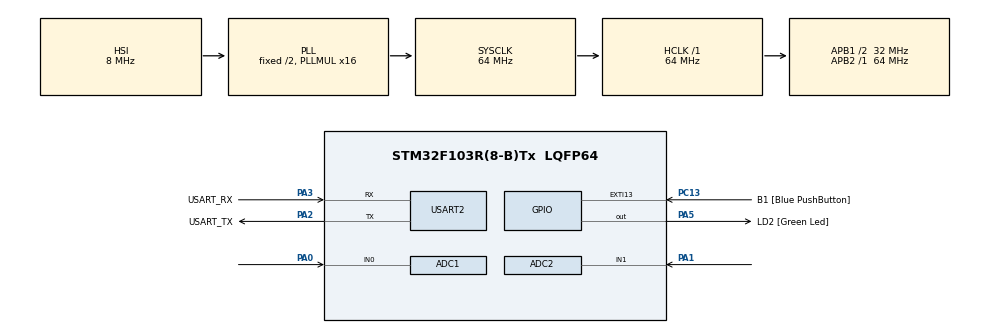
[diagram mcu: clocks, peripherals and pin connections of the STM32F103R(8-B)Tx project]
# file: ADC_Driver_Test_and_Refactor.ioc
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ADC1.Channel-3\#ChannelRegularConversion=ADC_CHANNEL_0
ADC1.ContinuousConvMode=ENABLE
ADC1.Mode=ADC_DUALMODE_REGSIMULT
ADC1.NbrOfConversionFlag=1
ADC1.Rank-3\#ChannelRegularConversion=1
ADC1.SamplingTime-3\#ChannelRegularConversion=ADC_SAMPLETIME_1CYCLE_5
ADC1.master=1
ADC2.Channel-1\#ChannelRegularConversion=ADC_CHANNEL_1
ADC2.ContinuousConvMode=ENABLE
ADC2.Mode=ADC_DUALMODE_REGSIMULT
ADC2.NbrOfConversionFlag=1
ADC2.Rank-1\#ChannelRegularConversion=1
ADC2.SamplingTime-1\#ChannelRegularConversion=ADC_SAMPLETIME_1CYCLE_5
Dma.ADC1.0.Direction=DMA_PERIPH_TO_MEMORY
Dma.ADC1.0.Instance=DMA1_Channel1
Dma.ADC1.0.MemDataAlignment=DMA_MDATAALIGN_HALFWORD
Dma.ADC1.0.MemInc=DMA_MINC_ENABLE
Dma.ADC1.0.Mode=DMA_CIRCULAR
Dma.ADC1.0.PeriphDataAlignment=DMA_PDATAALIGN_HALFWORD
Dma.ADC1.0.PeriphInc=DMA_PINC_DISABLE
Dma.ADC1.0.Priority=DMA_PRIORITY_LOW
Dma.Request0=ADC1
Mcu.Family=STM32F1
Mcu.Name=STM32F103R(8-B)Tx
Mcu.Package=LQFP64
NVIC.DMA1_Channel1_IRQn=true\:0\:0\:false\:false\:true\:false\:true\:true
NVIC.EXTI15_10_IRQn=true\:0\:0\:false\:false\:true\:true\:true\:true
NVIC.PriorityGroup=NVIC_PRIORITYGROUP_4
PA0-WKUP.Signal=ADCx_IN0
PA1.Signal=ADCx_IN1
PA13.GPIO_Label=TMS
PA13.Mode=Serial_Wire
PA13.Signal=SYS_JTMS-SWDIO
PA14.GPIO_Label=TCK
PA14.Mode=Serial_Wire
PA14.Signal=SYS_JTCK-SWCLK
PA2.GPIO_Label=USART_TX
PA2.GPIO_Mode=GPIO_MODE_AF_PP
PA2.GPIO_PuPd=GPIO_NOPULL
PA2.GPIO_Speed=GPIO_SPEED_FREQ_LOW
PA2.Mode=Asynchronous
PA2.Signal=USART2_TX
PA3.GPIO_Label=USART_RX
PA3.GPIO_Mode=GPIO_MODE_AF_PP
PA3.GPIO_PuPd=GPIO_NOPULL
PA3.GPIO_Speed=GPIO_SPEED_FREQ_LOW
PA3.Mode=Asynchronous
PA3.Signal=USART2_RX
PA5.GPIO_Label=LD2 [Green Led]
PA5.GPIO_ModeDefaultOutputPP=GPIO_MODE_OUTPUT_PP
PA5.GPIO_PuPd=GPIO_NOPULL
PA5.GPIO_Speed=GPIO_SPEED_FREQ_LOW
PA5.Signal=GPIO_Output
PB3.GPIO_Label=SWO
PB3.Signal=SYS_JTDO-TRACESWO
PC13-TAMPER-RTC.GPIO_Label=B1 [Blue PushButton]
PC13-TAMPER-RTC.GPIO_PuPd=GPIO_NOPULL
PC13-TAMPER-RTC.Signal=GPXTI13
ProjectManager.HeapSize=0x200
ProjectManager.StackSize=0x400
ProjectManager.TargetToolchain=STM32CubeIDE
RCC.ADCPresc=RCC_ADCPCLK2_DIV8
RCC.AHBFreq_Value=64000000
RCC.APB1CLKDivider=RCC_HCLK_DIV2
RCC.APB1Freq_Value=32000000
RCC.APB1TimFreq_Value=64000000
RCC.APB2Freq_Value=64000000
RCC.APB2TimFreq_Value=64000000
RCC.HCLKFreq_Value=64000000
RCC.PLLMUL=RCC_PLL_MUL16
RCC.RTCClockSelection=RCC_RTCCLKSOURCE_LSE
RCC.SYSCLKFreq_VALUE=64000000
RCC.SYSCLKSource=RCC_SYSCLKSOURCE_PLLCLK
RCC.USBFreq_Value=64000000
SH.ADCx_IN0.0=ADC1_IN0,IN0
SH.ADCx_IN1.0=ADC2_IN1,IN1
USART2.VirtualMode=VM_ASYNC
board=NUCLEO-F103RB

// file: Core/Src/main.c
/* USER CODE BEGIN Header */
/**
  ******************************************************************************
  * @file           : main.c
  * @brief          : Main program body
  ******************************************************************************
  * @attention
  *
  * Copyright (c) 2025 STMicroelectronics.
  * All rights reserved.
  *
  * This software is licensed under terms that can be found in the LICENSE file
  * in the root directory of this software component.
  * If no LICENSE file comes with this software, it is provided AS-IS.
  *
  ******************************************************************************
  */
/* USER CODE END Header */
#include "main.h"

/* USER CODE BEGIN Includes */
#include "adc_driver.h"
/* USER CODE END Includes */

ADC_HandleTypeDef hadc1;
ADC_HandleTypeDef hadc2;
DMA_HandleTypeDef hdma_adc1;

UART_HandleTypeDef huart2;

/* USER CODE BEGIN PV */
// Variables for ADC1
ADC_ChannelsTypeDef  cadc1;
ADC_BufferTypeDef badc1;

// Variables for ADC2
ADC_ChannelsTypeDef  cadc2;
ADC_BufferTypeDef badc2;

uint16_t adc_value1;
uint16_t adc_value2;

float voltage1;
float voltage2;
/* USER CODE END PV */

void SystemClock_Config(void);
static void MX_GPIO_Init(void);
static void MX_DMA_Init(void);
static void MX_USART2_UART_Init(void);
static void MX_ADC1_Init(void);
static void MX_ADC2_Init(void);

int main(void)
{

  /* MCU Configuration--------------------------------------------------------*/

  /* Reset of all peripherals, Initializes the Flash interface and the Systick. */
  HAL_Init();

  /* Configure the system clock */
  SystemClock_Config();

  /* Initialize all configured peripherals */
  MX_GPIO_Init();
  MX_DMA_Init();
  MX_USART2_UART_Init();
  MX_ADC1_Init();
  MX_ADC2_Init();

  /* Infinite loop */
  /* USER CODE BEGIN WHILE */

  while (1)
  {
	  // Reading channel 0
	  if(ADC_ReadChannel(&hadc1, &cadc1, &badc1, ADC_CHANNEL_0, &adc_value1) != HAL_OK){
		  Error_Handler();
	  }

	  if(ADC_GetValue(&hadc1, &cadc1, &badc1, 3.3f, ADC_CHANNEL_0, &voltage1) != HAL_OK){
		  Error_Handler();
	  }

	  // Reading Channel 1
	  if(ADC_ReadChannel(&hadc2, &cadc2, &badc1, ADC_CHANNEL_1, &adc_value2) != HAL_OK){
	  		  Error_Handler();
	  	  }
	  if(ADC_GetValue(&hadc2, &cadc2, &badc1, 3.3f, ADC_CHANNEL_1, &voltage2) != HAL_OK){
		  Error_Handler();
	  }
    /* USER CODE END WHILE */

    /* USER CODE BEGIN 3 */
  }
  //free(&badc); // temporary | need to build deinit function
  /* USER CODE END 3 */
}

void SystemClock_Config(void)
{
  RCC_OscInitTypeDef RCC_OscInitStruct = {0};
  RCC_ClkInitTypeDef RCC_ClkInitStruct = {0};
  RCC_PeriphCLKInitTypeDef PeriphClkInit = {0};

  /** Initializes the RCC Oscillators according to the specified parameters
  * in the RCC_OscInitTypeDef structure.
  */
  RCC_OscInitStruct.OscillatorType = RCC_OSCILLATORTYPE_HSI;
  RCC_OscInitStruct.HSIState = RCC_HSI_ON;
  RCC_OscInitStruct.HSICalibrationValue = RCC_HSICALIBRATION_DEFAULT;
  RCC_OscInitStruct.PLL.PLLState = RCC_PLL_ON;
  RCC_OscInitStruct.PLL.PLLSource = RCC_PLLSOURCE_HSI_DIV2;
  RCC_OscInitStruct.PLL.PLLMUL = RCC_PLL_MUL16;
  if (HAL_RCC_OscConfig(&RCC_OscInitStruct) != HAL_OK)
  {
    Error_Handler();
  }

  /** Initializes the CPU, AHB and APB buses clocks
  */
  RCC_ClkInitStruct.ClockType = RCC_CLOCKTYPE_HCLK|RCC_CLOCKTYPE_SYSCLK
                              |RCC_CLOCKTYPE_PCLK1|RCC_CLOCKTYPE_PCLK2;
  RCC_ClkInitStruct.SYSCLKSource = RCC_SYSCLKSOURCE_PLLCLK;
  RCC_ClkInitStruct.AHBCLKDivider = RCC_SYSCLK_DIV1;
  RCC_ClkInitStruct.APB1CLKDivider = RCC_HCLK_DIV2;
  RCC_ClkInitStruct.APB2CLKDivider = RCC_HCLK_DIV1;

  if (HAL_RCC_ClockConfig(&RCC_ClkInitStruct, FLASH_LATENCY_2) != HAL_OK)
  {
    Error_Handler();
  }
  PeriphClkInit.PeriphClockSelection = RCC_PERIPHCLK_ADC;
  PeriphClkInit.AdcClockSelection = RCC_ADCPCLK2_DIV8;
  if (HAL_RCCEx_PeriphCLKConfig(&PeriphClkInit) != HAL_OK)
  {
    Error_Handler();
  }
}

static void MX_ADC1_Init(void)
{

  ADC_MultiModeTypeDef multimode = {0};
  ADC_ChannelConfTypeDef sConfig = {0};

  /** Common config
  */
  hadc1.Instance = ADC1;
  hadc1.Init.ScanConvMode = ADC_SCAN_DISABLE;
  hadc1.Init.ContinuousConvMode = ENABLE;
  hadc1.Init.DiscontinuousConvMode = DISABLE;
  hadc1.Init.ExternalTrigConv = ADC_SOFTWARE_START;
  hadc1.Init.DataAlign = ADC_DATAALIGN_RIGHT;
  hadc1.Init.NbrOfConversion = 1;
  if (HAL_ADC_Init(&hadc1) != HAL_OK)
  {
    Error_Handler();
  }

  /** Configure the ADC multi-mode
  */
  multimode.Mode = ADC_DUALMODE_REGSIMULT;
  if (HAL_ADCEx_MultiModeConfigChannel(&hadc1, &multimode) != HAL_OK)
  {
    Error_Handler();
  }

  /** Configure Regular Channel
  */
  sConfig.Channel = ADC_CHANNEL_0;
  sConfig.Rank = ADC_REGULAR_RANK_1;
  sConfig.SamplingTime = ADC_SAMPLETIME_1CYCLE_5;
  if (HAL_ADC_ConfigChannel(&hadc1, &sConfig) != HAL_OK)
  {
    Error_Handler();
  }
  /* USER CODE BEGIN ADC1_Init 2 */
  if(ADC_Init(&hadc1, &badc1, &cadc1) != HAL_OK){
	  Error_Handler();
  }
  /* USER CODE END ADC1_Init 2 */

}

static void MX_ADC2_Init(void)
{

  ADC_ChannelConfTypeDef sConfig = {0};

  /** Common config
  */
  hadc2.Instance = ADC2;
  hadc2.Init.ScanConvMode = ADC_SCAN_DISABLE;
  hadc2.Init.ContinuousConvMode = ENABLE;
  hadc2.Init.DiscontinuousConvMode = DISABLE;
  hadc2.Init.ExternalTrigConv = ADC_SOFTWARE_START;
  hadc2.Init.DataAlign = ADC_DATAALIGN_RIGHT;
  hadc2.Init.NbrOfConversion = 1;
  if (HAL_ADC_Init(&hadc2) != HAL_OK)
  {
    Error_Handler();
  }

  /** Configure Regular Channel
  */
  sConfig.Channel = ADC_CHANNEL_1;
  sConfig.Rank = ADC_REGULAR_RANK_1;
  sConfig.SamplingTime = ADC_SAMPLETIME_1CYCLE_5;
  if (HAL_ADC_ConfigChannel(&hadc2, &sConfig) != HAL_OK)
  {
    Error_Handler();
  }
  /* USER CODE BEGIN ADC2_Init 2 */

  // Initializing ADC
  if(ADC_Init(&hadc2, &badc2, &cadc2) != HAL_OK){
  	  Error_Handler();
  }

  /* USER CODE END ADC2_Init 2 */

}

static void MX_USART2_UART_Init(void)
{

  huart2.Instance = USART2;
  huart2.Init.BaudRate = 115200;
  huart2.Init.WordLength = UART_WORDLENGTH_8B;
  huart2.Init.StopBits = UART_STOPBITS_1;
  huart2.Init.Parity = UART_PARITY_NONE;
  huart2.Init.Mode = UART_MODE_TX_RX;
  huart2.Init.HwFlowCtl = UART_HWCONTROL_NONE;
  huart2.Init.OverSampling = UART_OVERSAMPLING_16;
  if (HAL_UART_Init(&huart2) != HAL_OK)
  {
    Error_Handler();
  }

}

static void MX_DMA_Init(void)
{

  /* DMA controller clock enable */
  __HAL_RCC_DMA1_CLK_ENABLE();

  /* DMA interrupt init */
  /* DMA1_Channel1_IRQn interrupt configuration */
  HAL_NVIC_SetPriority(DMA1_Channel1_IRQn, 0, 0);
  HAL_NVIC_EnableIRQ(DMA1_Channel1_IRQn);

}

static void MX_GPIO_Init(void)
{
  GPIO_InitTypeDef GPIO_InitStruct = {0};

  /* GPIO Ports Clock Enable */
  __HAL_RCC_GPIOC_CLK_ENABLE();
  __HAL_RCC_GPIOA_CLK_ENABLE();
  __HAL_RCC_GPIOB_CLK_ENABLE();

  /*Configure GPIO pin Output Level */
  HAL_GPIO_WritePin(LD2_GPIO_Port, LD2_Pin, GPIO_PIN_RESET);

  /*Configure GPIO pin : B1_Pin */
  GPIO_InitStruct.Pin = B1_Pin;
  GPIO_InitStruct.Mode = GPIO_MODE_IT_RISING;
  GPIO_InitStruct.Pull = GPIO_NOPULL;
  HAL_GPIO_Init(B1_GPIO_Port, &GPIO_InitStruct);

  /*Configure GPIO pin : LD2_Pin */
  GPIO_InitStruct.Pin = LD2_Pin;
  GPIO_InitStruct.Mode = GPIO_MODE_OUTPUT_PP;
  GPIO_InitStruct.Pull = GPIO_NOPULL;
  GPIO_InitStruct.Speed = GPIO_SPEED_FREQ_LOW;
  HAL_GPIO_Init(LD2_GPIO_Port, &GPIO_InitStruct);

  /* EXTI interrupt init*/
  HAL_NVIC_SetPriority(EXTI15_10_IRQn, 0, 0);
  HAL_NVIC_EnableIRQ(EXTI15_10_IRQn);

}

void Error_Handler(void)
{
  /* USER CODE BEGIN Error_Handler_Debug */
  /* User can add his own implementation to report the HAL error return state */
  __disable_irq();
  while (1)
  {
	  uint8_t debuggg = 0;

	  UNUSED(debuggg);
  }
  /* USER CODE END Error_Handler_Debug */
}
